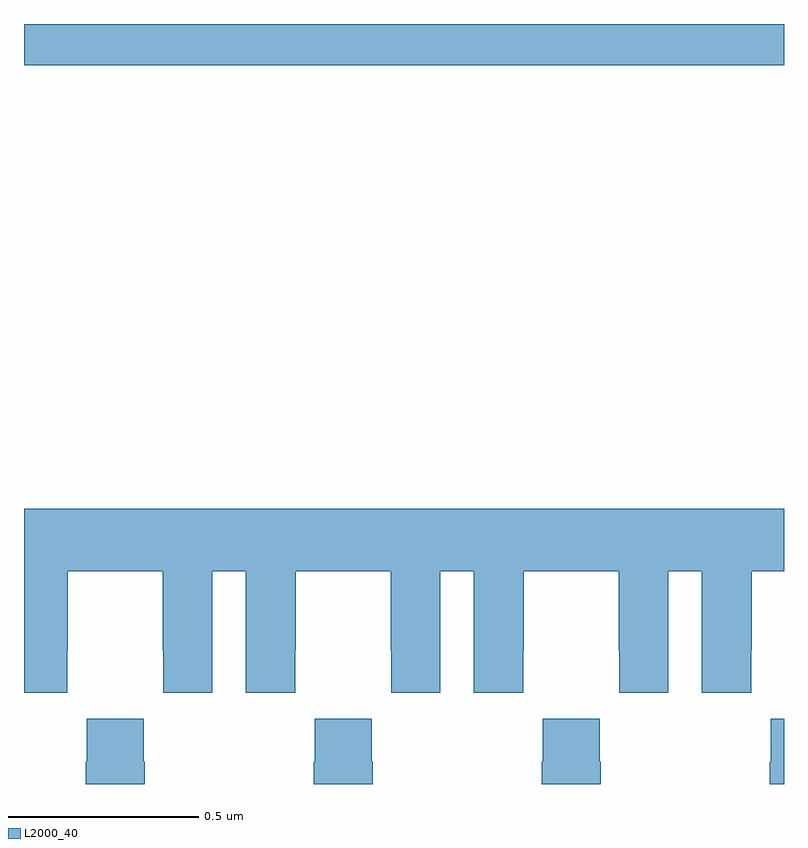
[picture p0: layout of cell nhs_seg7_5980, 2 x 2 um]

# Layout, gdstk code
import gdstk
lib = gdstk.Library(unit=1e-6, precision=1e-09)
def R(c, l, rs):  # rectangles x0, y0, x1, y1
    for r in rs: c.add(gdstk.rectangle(r[:2], r[2:], *l))
def P(c, l, *ps):  # polygons
    for p in ps: c.add(gdstk.Polygon(p, *l))
L2000_40 = (2000, 40)

nhs_seg7_5980 = lib.new_cell('nhs_seg7_5980')
R(nhs_seg7_5980, L2000_40, [(192,1057.892,194,1058)])
P(nhs_seg7_5980, L2000_40, [(192.114,1056.352),(192.115,1056.352),(192.115,1056.56),(192.365,1056.56),(192.365,1056.352),(192.366,1056.352),(192.366,1056.24),(192.496,1056.24),(192.496,1056.56),(192.584,1056.56),(192.584,1056.24),(192.714,1056.24),(192.714,1056.352),(192.715,1056.352),(192.715,1056.56),(192.965,1056.56),(192.965,1056.352),(192.966,1056.352),(192.966,1056.24),(193.096,1056.24),(193.096,1056.56),(193.184,1056.56),(193.184,1056.24),(193.314,1056.24),(193.314,1056.352),(193.315,1056.352),(193.315,1056.56),(193.565,1056.56),(193.565,1056.352),(193.566,1056.352),(193.566,1056.24),(193.696,1056.24),(193.696,1056.56),(193.784,1056.56),(193.784,1056.24),(193.914,1056.24),(193.914,1056.352),(193.915,1056.352),(193.915,1056.56),(194,1056.56),(194,1056.724),(192,1056.724),(192,1056.24),(192.114,1056.24)],
  [(192.318,1056.059),(192.315,1056.059),(192.315,1056.172),(192.165,1056.172),(192.165,1056.059),(192.163,1056.059),(192.163,1056),(192.318,1056)],
  [(192.918,1056.059),(192.915,1056.059),(192.915,1056.172),(192.765,1056.172),(192.765,1056.059),(192.763,1056.059),(192.763,1056),(192.918,1056)],
  [(193.518,1056.059),(193.515,1056.059),(193.515,1056.172),(193.365,1056.172),(193.365,1056.059),(193.363,1056.059),(193.363,1056),(193.518,1056)],
  [(194,1056.172),(193.965,1056.172),(193.965,1056.059),(193.963,1056.059),(193.963,1056),(194,1056)])

lib.write_gds('nhs_seg7_5980.gds')
